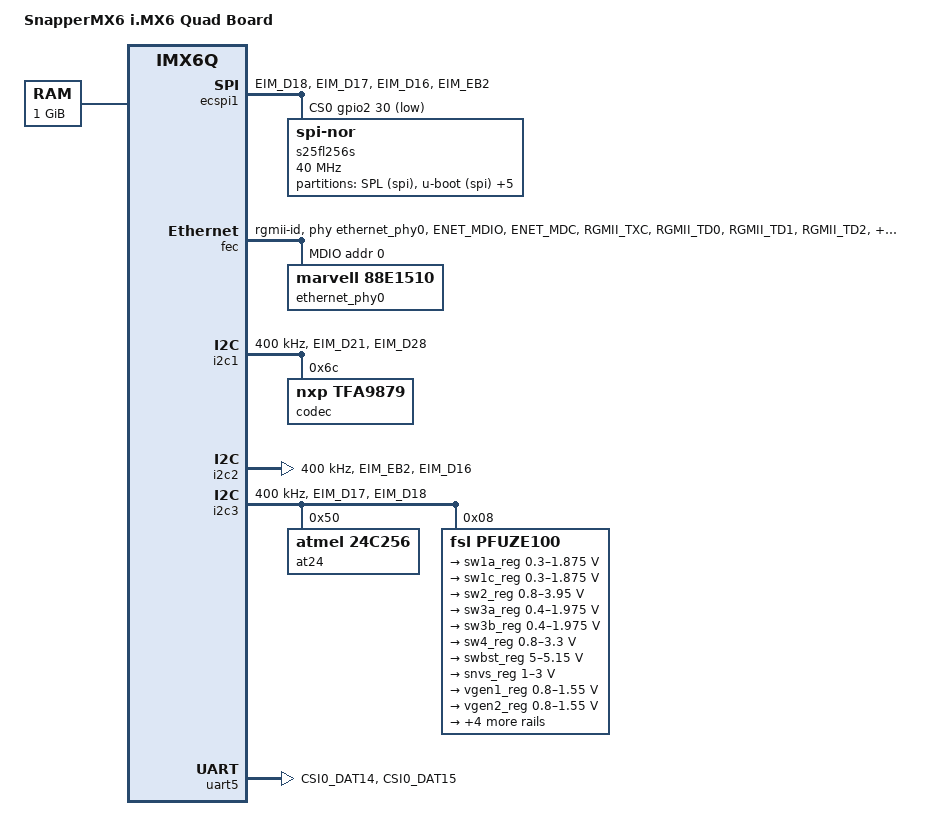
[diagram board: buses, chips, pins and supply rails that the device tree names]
/*
 * Copyright 2017
 * Lukasz Majewski, DENX Software Engineering, lukma@denx.de
 *
 * This program is free software; you can redistribute it and/or modify
 * it under the terms of the GNU General Public License version 2 as
 * published by the Free Software Foundation.
 *
 */

/dts-v1/;

#include <dt-bindings/gpio/gpio.h>
#include "imx6q.dtsi"

/ {
	model = "SnapperMX6 i.MX6 Quad Board";
	compatible = "fsl,imx6q";

	chosen {
		console = &uart5;
	};

	memory@10000000 {
		device_type = "memory";
		reg = <0x10000000 0x40000000>;
	};
};

&ecspi1 {
	cs-gpios = <&gpio2 30 GPIO_ACTIVE_LOW>;
	pinctrl-names = "default";
	pinctrl-0 = <&pinctrl_ecspi1 &pinctrl_ecspi1_cs>;
	status = "okay";

	s25fl256s: flash@0 {
		#address-cells = <1>;
		#size-cells = <1>;
		compatible = "jedec,spi-nor";
		spi-max-frequency = <40000000>;
		reg = <0>;

		partition@0 {
			label = "SPL (spi)";
			reg = <0x0 0x20000>;
			read-only;
		};
		partition@1 {
			label = "u-boot (spi)";
			reg = <0x20000 0x100000>;
			read-only;
		};
		partition@2 {
			label = "uboot-env (spi)";
			reg = <0x120000 0x10000>;
		};
		partition@3 {
			label = "uboot-envr (spi)";
			reg = <0x130000 0x10000>;
		};
		partition@4 {
			label = "linux-recovery (spi)";
			reg = <0x140000 0x800000>;
		};
		partition@5 {
			label = "swupdate-fitImg (spi)";
			reg = <0x940000 0x400000>;
		};
		partition@6 {
			label = "swupdate-initramfs (spi)";
			reg = <0xD40000 0x800000>;
		};
	};
};

&fec {
	pinctrl-names = "default";
	pinctrl-0 = <&pinctrl_enet>;
	phy-handle = <&ethernet_phy0>;
	phy-mode = "rgmii-id";
	status = "okay";

	mdio {
		#address-cells = <1>;
		#size-cells = <0>;
		ethernet_phy0: ethernet-phy@0 {
			compatible = "marvell,88E1510";
			device_type = "ethernet-phy";
			/* Set LED0 control: */
			/* On - Link, Blink - Activity, Off - No Link */
			marvell,reg-init = <3 0x10 0 0x1011>;
			max-speed = <100>;
			reg = <0>;
		};
	};
};

&i2c1 {
	clock-frequency = <400000>;
	pinctrl-names = "default";
	pinctrl-0 = <&pinctrl_i2c1>;
	status = "okay";

	codec: tfa9879@6c {
		#sound-dai-cells = <0>;
		compatible = "nxp,tfa9879";
		reg = <0x6C>;
	};
};

&i2c2 {
	clock-frequency = <400000>;
	pinctrl-names = "default";
	pinctrl-0 = <&pinctrl_i2c2>;
	status = "okay";
};

&i2c3 {
	clock-frequency = <400000>;
	pinctrl-names = "default";
	pinctrl-0 = <&pinctrl_i2c3>;
	status = "okay";

	at24@50 {
		compatible = "atmel,24c256";
		pagesize = <64>;
		reg = <0x50>;
	};

	pfuze100: pmic@8 {
		compatible = "fsl,pfuze100";
		reg = <0x08>;

		regulators {
			sw1a_reg: sw1ab {
				regulator-min-microvolt = <300000>;
				regulator-max-microvolt = <1875000>;
				regulator-boot-on;
				regulator-always-on;
				regulator-ramp-delay = <6250>;
			};

			sw1c_reg: sw1c {
				regulator-min-microvolt = <300000>;
				regulator-max-microvolt = <1875000>;
				regulator-boot-on;
				regulator-always-on;
				regulator-ramp-delay = <6250>;
			};

			sw2_reg: sw2 {
				regulator-min-microvolt = <800000>;
				regulator-max-microvolt = <3950000>;
				regulator-boot-on;
				regulator-always-on;
			};

			sw3a_reg: sw3a {
				regulator-min-microvolt = <400000>;
				regulator-max-microvolt = <1975000>;
				regulator-boot-on;
				regulator-always-on;
			};

			sw3b_reg: sw3b {
				regulator-min-microvolt = <400000>;
				regulator-max-microvolt = <1975000>;
				regulator-boot-on;
				regulator-always-on;
			};

			sw4_reg: sw4 {
				regulator-min-microvolt = <800000>;
				regulator-max-microvolt = <3300000>;
			};

			swbst_reg: swbst {
				regulator-min-microvolt = <5000000>;
				regulator-max-microvolt = <5150000>;
			};

			snvs_reg: vsnvs {
				regulator-min-microvolt = <1000000>;
				regulator-max-microvolt = <3000000>;
				regulator-boot-on;
				regulator-always-on;
			};

			vref_reg: vrefddr {
				regulator-boot-on;
				regulator-always-on;
			};

			vgen1_reg: vgen1 {
				regulator-min-microvolt = <800000>;
				regulator-max-microvolt = <1550000>;
			};

			vgen2_reg: vgen2 {
				regulator-min-microvolt = <800000>;
				regulator-max-microvolt = <1550000>;
			};

			vgen3_reg: vgen3 {
				regulator-min-microvolt = <1800000>;
				regulator-max-microvolt = <3300000>;
			};

			vgen4_reg: vgen4 {
				regulator-min-microvolt = <1800000>;
				regulator-max-microvolt = <3300000>;
				regulator-always-on;
			};

			vgen5_reg: vgen5 {
				regulator-min-microvolt = <1800000>;
				regulator-max-microvolt = <3300000>;
				regulator-always-on;
			};

			vgen6_reg: vgen6 {
				regulator-min-microvolt = <1800000>;
				regulator-max-microvolt = <3300000>;
				regulator-always-on;
			};
		};
	};
};

&uart5 {
	pinctrl-names = "default";
	pinctrl-0 = <&pinctrl_uart5>;
	status = "okay";
};

&iomuxc {
	pinctrl_ecspi1: ecspi1grp {
		fsl,pins = <
			MX6QDL_PAD_EIM_D18__ECSPI1_MOSI		0x100b1
			MX6QDL_PAD_EIM_D17__ECSPI1_MISO		0x100b1
			MX6QDL_PAD_EIM_D16__ECSPI1_SCLK		0x100b1
		>;
	};

	pinctrl_ecspi1_cs: ecspi1csgrp {
		fsl,pins = <
			MX6QDL_PAD_EIM_EB2__GPIO2_IO30		0x1b0b0
		>;
	};

	pinctrl_enet: enetgrp {
		fsl,pins = <
			MX6QDL_PAD_ENET_MDIO__ENET_MDIO		0x1b0b0
			MX6QDL_PAD_ENET_MDC__ENET_MDC		0x1b0b0
			MX6QDL_PAD_RGMII_TXC__RGMII_TXC		0x1b0b0
			MX6QDL_PAD_RGMII_TD0__RGMII_TD0		0x1b0b0
			MX6QDL_PAD_RGMII_TD1__RGMII_TD1		0x1b0b0
			MX6QDL_PAD_RGMII_TD2__RGMII_TD2		0x1b0b0
			MX6QDL_PAD_RGMII_TD3__RGMII_TD3		0x1b0b0
			MX6QDL_PAD_RGMII_TX_CTL__RGMII_TX_CTL	0x1b0b0
			MX6QDL_PAD_ENET_REF_CLK__ENET_TX_CLK	0x1b0b0
			MX6QDL_PAD_RGMII_RXC__RGMII_RXC		0x1b0b0
			MX6QDL_PAD_RGMII_RD0__RGMII_RD0		0x1b0b0
			MX6QDL_PAD_RGMII_RD1__RGMII_RD1		0x1b0b0
			MX6QDL_PAD_RGMII_RD2__RGMII_RD2		0x1b0b0
			MX6QDL_PAD_RGMII_RD3__RGMII_RD3		0x1b0b0
			MX6QDL_PAD_RGMII_RX_CTL__RGMII_RX_CTL	0x1b0b0
			MX6QDL_PAD_GPIO_16__ENET_REF_CLK 0x4001b0a8
			MX6QDL_PAD_GPIO_6__ENET_IRQ		0x000b1
			MX6QDL_PAD_ENET_RXD0__GPIO1_IO27        0x1b0b0
		>;
	};

	pinctrl_i2c1: i2c1grp {
		fsl,pins = <
			MX6QDL_PAD_EIM_D21__I2C1_SCL	0x4001b8b1
			MX6QDL_PAD_EIM_D28__I2C1_SDA	0x4001b8b1
		>;
	};

	pinctrl_i2c2: i2c2grp {
		fsl,pins = <
			MX6QDL_PAD_EIM_EB2__I2C2_SCL	0x4001b8b1
			MX6QDL_PAD_EIM_D16__I2C2_SDA	0x4001b8b1
		>;
	};

	pinctrl_i2c3: i2c3grp {
		fsl,pins = <
			MX6QDL_PAD_EIM_D17__I2C3_SCL	0x4001b8b1
			MX6QDL_PAD_EIM_D18__I2C3_SDA	0x4001b8b1
		>;
	};

	pinctrl_uart5: uart5grp {
		fsl,pins = <
			MX6QDL_PAD_CSI0_DAT14__UART5_TX_DATA	0x1b0b1
			MX6QDL_PAD_CSI0_DAT15__UART5_RX_DATA    0x1b0b1
		>;
	};
};
